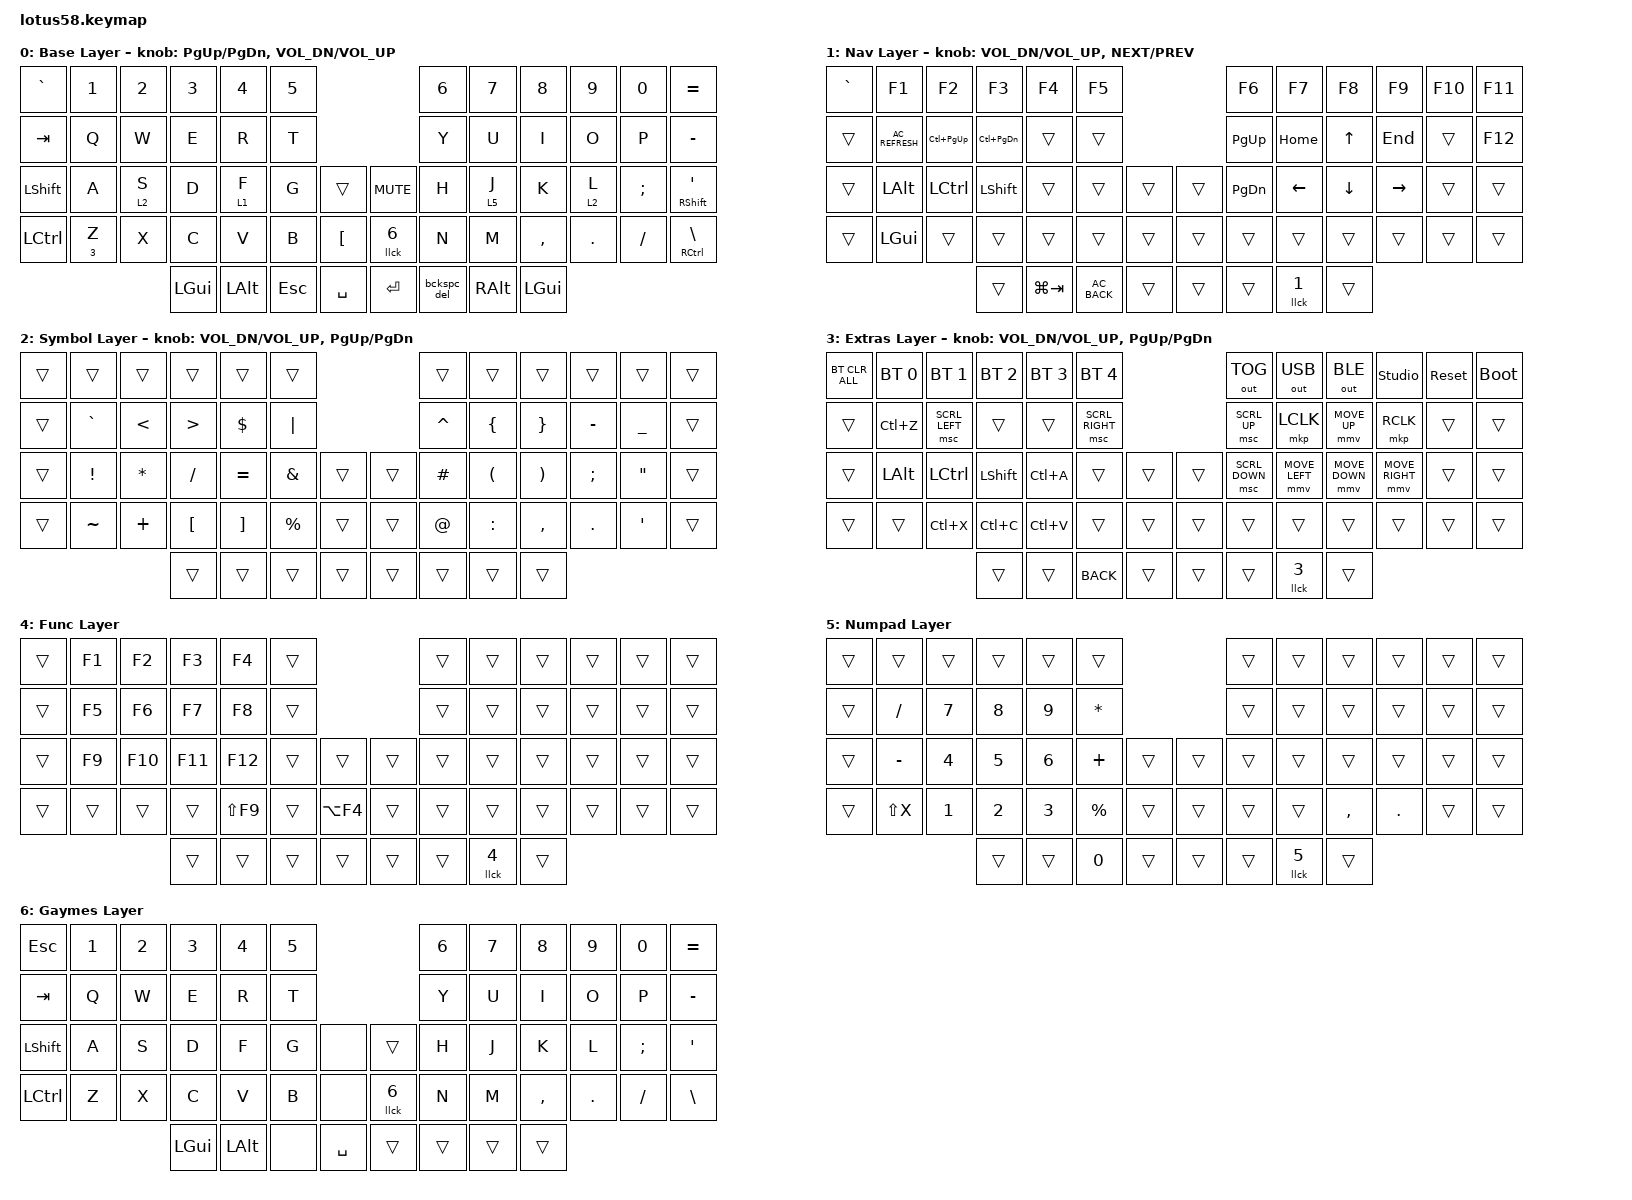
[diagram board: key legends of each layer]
/*
 * Copyright (c) 2022 The ZMK Contributors
 *
 * SPDX-License-Identifier: MIT


 */

#include <behaviors.dtsi>
#include <dt-bindings/zmk/bt.h>
#include <dt-bindings/zmk/keys.h>
#include <dt-bindings/zmk/outputs.h>
#include <dt-bindings/zmk/pointing.h>

/*
// Encoders

&sensors { triggers-per-rotation = <30>; };

&left_encoder { steps = <60>; };

&right_encoder { steps = <60>; };
*/

/ {
    combos {
        compatible = "zmk,combos";

        funcy {
            bindings = <&sl 4>;
            key-positions = <28 29>;
        };
    };

    behaviors {
        bckspc_del: bckspc_del {
            compatible = "zmk,behavior-mod-morph";
            bindings = <&kp BACKSPACE>, <&kp DEL>;

            #binding-cells = <0>;
            mods = <(MOD_LSFT|MOD_RSFT)>;
        };

        hml: homerow_mod_left {
            compatible = "zmk,behavior-hold-tap";
            label = "HML";
            bindings = <&kp>, <&kp>;

            #binding-cells = <2>;
            tapping-term-ms = <280>;
            quick-tap-ms = <175>;
            require-prior-idle-ms = <150>;
            flavor = "balanced";
            hold-trigger-key-positions = <0 1 2 3 4 5 6 7 8 9 10 11 18 19 20 21 22 23 32 33 34 35 36 37 46 47 48 49 50 51 52 53 54 55 56 57 58 59 30 31 32 44 45 46 12 24 38>;
            hold-trigger-on-release;
        };

        hmr: homerow_mod_right {
            compatible = "zmk,behavior-hold-tap";
            label = "HMR";
            bindings = <&kp>, <&kp>;

            #binding-cells = <2>;
            tapping-term-ms = <280>;
            quick-tap-ms = <175>;
            require-prior-idle-ms = <150>;
            flavor = "balanced";
            hold-trigger-on-release;
            hold-trigger-key-positions = <0 1 2 3 4 5 12 13 14 15 16 17 24 25 26 27 28 29 38 39 40 41 42 43 52 53 54 30 31 44 45 55 56 6 7 8 9 10 11 11 23 37 51 57 58 59>;
        };

        hmll: homerow_mod_layer_left {
            compatible = "zmk,behavior-hold-tap";
            label = "HMLL";
            bindings = <&mo>, <&kp>;

            #binding-cells = <2>;
            tapping-term-ms = <280>;
            quick-tap-ms = <175>;
            require-prior-idle-ms = <150>;
            flavor = "balanced";
            hold-trigger-key-positions = <0 1 2 3 4 5 6 7 8 9 10 11 18 19 20 21 22 23 32 33 34 35 36 37 46 47 48 49 50 51 52 53 54 55 56 57 58 59 30 31 32 44 45 46 12 24 38>;
            hold-trigger-on-release;
        };

        hmlr: homerow_mod_layer_right {
            compatible = "zmk,behavior-hold-tap";
            label = "HMLR";
            bindings = <&mo>, <&kp>;

            #binding-cells = <2>;
            tapping-term-ms = <280>;
            quick-tap-ms = <175>;
            require-prior-idle-ms = <150>;
            flavor = "balanced";
            hold-trigger-key-positions = <0 1 2 3 4 5 6 7 8 9 10 11 18 19 20 21 22 23 32 33 34 35 36 37 46 47 48 49 50 51 52 53 54 55 56 57 58 59 30 31 32 44 45 46 12 24 38>;
            hold-trigger-on-release;
        };

        llck: layer_lock {
            compatible = "zmk,behavior-toggle-layer";
            label = "LLCK";
            #binding-cells = <1>;
            toggle-mode = "flip";
            locking;
        };
    };

    keymap {
        compatible = "zmk,keymap";

        base_layer {
            display-name = "Base Layer";

            //   ------------------------------------------------------------------------------------------------------------
            //  0|  ESC  |  1  |  2  |  3   |  4   |  5   |                     |  6   |  7    |  8    |  9   |   0   |   =   | 11
            // 12|  TAB  |  Q  |  W  |  E   |  R   |  T   |                     |  Y   |  U    |  I    |  O   |   P   |   [   | 23
            // 24|  SFT  |  A  |  S  |  D   |  F   |  G   |  RESET  |  | RESET  |  H   |  J    |  K    |  L   |   ;   | ' SFT | 37
            // 38|  CTRL |  Z  |  X  |  C   |  V   |  B   |  MUTE   |  | PLAY   |  N   |  M    |  ,    |  .   |   /   | \ CTRL| 51
            // 52                    |ENT RS|  ALT | SPACE|DELETE LW|  |ENTER RS| BSPC |  ] LW | RGUI  |                        59

            bindings = <
&kp GRAVE  &kp N1            &kp N2            &kp N3    &kp N4        &kp N5                          &kp N6       &kp N7            &kp N8        &kp N9            &kp N0    &kp EQUAL
&kp TAB    &kp Q             &kp W             &kp E     &kp R         &kp T                           &kp Y        &kp U             &kp I         &kp O             &kp P     &kp MINUS
&kp LSHFT  &kp A             &hmll 2 S         &kp D     &hmll 1 F     &kp G    &trans     &kp C_MUTE  &kp H        &hmlr 5 J         &kp K         &hmlr 2 L         &kp SEMI  &hmr RSHFT SQT
&kp LCTRL  &hml 3 Z          &kp X             &kp C     &kp V         &kp B    &kp LBKT   &llck 6     &kp N        &kp M             &kp COMMA     &kp DOT           &kp FSLH  &mt RCTRL BSLH
                                               &kp LGUI  &kp LEFT_ALT  &kp ESC  &kp SPACE  &kp RET     &bckspc_del  &kp RIGHT_ALT     &kp LEFT_GUI
            >;

            sensor-bindings = <&inc_dec_kp PG_UP PG_DN &inc_dec_kp C_VOL_DN C_VOL_UP>;
        };

        nav_layer {
            display-name = "Nav Layer";

            // ------------------------------------------------------------------------------------------------------------
            // | `     |  F1 |  F2 |  F3  |  F4  |  F5  |                   |  F6  |  F7   |  F8   |  F9  |  F10  |  F11  |
            // |       |  !  | HOME|   ^  |  END |  %   |                   | VOL^ |  PGUP |  INS  |  ^   |  PSCR |   -   |
            // |       |  #  |  <- |   v  | ->   |  $   |        |  |       | VOLv |    <- |   ^   |  ->  |   ~   |   _   |
            // |       |  @  |  -  |  (   |  )   |  &   |        |  |       | MUTE |  PGDN |   v   |  :   |   *   |   |   |
            //                     |  F11 |      |      |        |  |       |      |       |  F12  |

            bindings = <
&kp GRAVE  &kp F1            &kp F2           &kp F3             &kp F4       &kp F5                         &kp F6       &kp F7    &kp F8    &kp F9     &kp F10  &kp F11
&trans     &kp C_AC_REFRESH  &kp LC(PAGE_UP)  &kp LC(PAGE_DOWN)  &trans       &trans                         &kp PAGE_UP  &kp HOME  &kp UP    &kp END    &trans   &kp F12
&trans     &kp LEFT_ALT      &kp LCTRL        &kp LEFT_SHIFT     &trans       &trans         &trans  &trans  &kp PG_DN    &kp LEFT  &kp DOWN  &kp RIGHT  &trans   &trans
&trans     &kp LEFT_GUI      &trans           &trans             &trans       &trans         &trans  &trans  &trans       &trans    &trans    &trans     &trans   &trans
                                              &trans             &kp LG(TAB)  &kp C_AC_BACK  &trans  &trans  &trans       &llck 1   &trans
            >;

            sensor-bindings = <&inc_dec_kp C_VOL_DN C_VOL_UP &inc_dec_kp C_NEXT C_PREV>;
        };

        symbol_layer {
            display-name = "Symbol Layer";

            // ------------------------------------------------------------------------------------------------------------
            // |BTCLR| BT1  | BT2  |  BT3  |  BT4  |  BT5 |                |OUTTOG|OUTUSB| OUTBT |      | RESET | FLASH |
            // |     | INS  | PSCR | GUI   | RESET |      |                | PGUP |      |   ^   |      |       |       |
            // |     | ALT  | CTRL | SHIFT | FLASH | CAPS |      |  |      | PGDN |   <- |   v   |  ->  |  DEL  | BSPC  |
            // |     | UNDO | CUT  | COPY  | PASTE |      |      |  |      |      |  |>  |  <|<| | |>|> |       |       |
            //                     |       |       |      |      |  |      |      |      |       |

            bindings = <
&trans  &trans           &trans         &trans            &trans             &trans                         &trans     &trans                &trans                 &trans      &trans             &trans
&trans  &kp GRAVE        &kp LESS_THAN  &kp GREATER_THAN  &kp DOLLAR         &kp PIPE                       &kp CARET  &kp LEFT_BRACE        &kp RIGHT_BRACE        &kp MINUS   &kp UNDERSCORE     &trans
&trans  &kp EXCLAMATION  &kp ASTERISK   &kp SLASH         &kp EQUAL          &kp AMPERSAND  &trans  &trans  &kp POUND  &kp LEFT_PARENTHESIS  &kp RIGHT_PARENTHESIS  &kp SEMI    &kp DOUBLE_QUOTES  &trans
&trans  &kp TILDE        &kp PLUS       &kp LEFT_BRACKET  &kp RIGHT_BRACKET  &kp PERCENT    &trans  &trans  &kp AT     &kp COLON             &kp COMMA              &kp PERIOD  &kp SINGLE_QUOTE   &trans
                                        &trans            &trans             &trans         &trans  &trans  &trans     &trans                &trans
            >;

            sensor-bindings = <&inc_dec_kp C_VOL_DN C_VOL_UP &inc_dec_kp PG_UP PG_DN>;
        };

        extras_layer {
            display-name = "Extras Layer";
            bindings = <
&bt BT_CLR_ALL  &bt BT_SEL 0  &bt BT_SEL 1    &bt BT_SEL 2  &bt BT_SEL 3  &bt BT_SEL 4                     &out OUT_TOG    &out OUT_USB    &out OUT_BLE    &studio_unlock   &sys_reset  &bootloader
&trans          &kp LC(Z)     &msc SCRL_LEFT  &trans        &trans        &msc SCRL_RIGHT                  &msc SCRL_UP    &mkp LCLK       &mmv MOVE_UP    &mkp RCLK        &trans      &trans
&trans          &kp LALT      &kp LCTRL       &kp LSHFT     &kp LC(A)     &trans           &trans  &trans  &msc SCRL_DOWN  &mmv MOVE_LEFT  &mmv MOVE_DOWN  &mmv MOVE_RIGHT  &trans      &trans
&trans          &trans        &kp LC(X)       &kp LC(C)     &kp LC(V)     &trans           &trans  &trans  &trans          &trans          &trans          &trans           &trans      &trans
                                              &trans        &trans        &kp K_BACK       &trans  &trans  &trans          &llck 3         &trans
            >;

            sensor-bindings =
                <&inc_dec_kp C_VOL_DN C_VOL_UP>,
                <&inc_dec_kp PG_UP PG_DN>;
        };

        func_layer {
            bindings = <
&trans  &kp F1  &kp F2   &kp F3   &kp F4      &trans                      &trans  &trans   &trans  &trans  &trans  &trans
&trans  &kp F5  &kp F6   &kp F7   &kp F8      &trans                      &trans  &trans   &trans  &trans  &trans  &trans
&trans  &kp F9  &kp F10  &kp F11  &kp F12     &trans  &trans      &trans  &trans  &trans   &trans  &trans  &trans  &trans
&trans  &trans  &trans   &trans   &kp LS(F9)  &trans  &kp LA(F4)  &trans  &trans  &trans   &trans  &trans  &trans  &trans
                         &trans   &trans      &trans  &trans      &trans  &trans  &llck 4  &trans
            >;

            label = "Func Layer";
        };

        numpad_layer {
            bindings = <
&trans  &trans     &trans        &trans        &trans        &trans                       &trans  &trans   &trans     &trans      &trans  &trans
&trans  &kp SLASH  &kp N7        &kp NUMBER_8  &kp NUMBER_9  &kp ASTRK                    &trans  &trans   &trans     &trans      &trans  &trans
&trans  &kp MINUS  &kp NUMBER_4  &kp NUMBER_5  &kp NUMBER_6  &kp PLUS     &trans  &trans  &trans  &trans   &trans     &trans      &trans  &trans
&trans  &kp LS(X)  &kp NUMBER_1  &kp NUMBER_2  &kp NUMBER_3  &kp PERCENT  &trans  &trans  &trans  &trans   &kp COMMA  &kp PERIOD  &trans  &trans
                                 &trans        &trans        &kp N0       &trans  &trans  &trans  &llck 5  &trans
            >;

            label = "Numpad Layer";
        };

        games_layer {
            bindings = <
&kp ESC    &kp N1  &kp N2  &kp N3        &kp N4        &kp N5                      &kp N6  &kp N7  &kp N8     &kp N9   &kp N0    &kp EQUAL
&kp TAB    &kp Q   &kp W   &kp E         &kp R         &kp T                       &kp Y   &kp U   &kp I      &kp O    &kp P     &kp MINUS
&kp LSHFT  &kp A   &kp S   &kp D         &kp F         &kp G   &none      &trans   &kp H   &kp J   &kp K      &kp L    &kp SEMI  &kp APOS
&kp LCTRL  &kp Z   &kp X   &kp C         &kp V         &kp B   &none      &llck 6  &kp N   &kp M   &kp COMMA  &kp DOT  &kp FSLH  &kp BSLH
                           &kp LEFT_GUI  &kp LEFT_ALT  &none   &kp SPACE  &trans   &trans  &trans  &trans
            >;

            label = "Gaymes Layer";
        };
    };

    extra_layer {
        display-name = "Extra Layer";

        // ------------------------------------------------------------------------------------------------------------
        // |BTCLR| BT1  | BT2  |  BT3  |  BT4  |  BT5 |                |OUTTOG|OUTUSB| OUTBT |      | RESET | FLASH |
        // |     | INS  | PSCR | GUI   | RESET |      |                | PGUP |      |   ^   |      |       |       |
        // |     | ALT  | CTRL | SHIFT | FLASH | CAPS |      |  |      | PGDN |   <- |   v   |  ->  |  DEL  | BSPC  |
        // |     | UNDO | CUT  | COPY  | PASTE |      |      |  |      |      |  |>  |  <|<| | |>|> |       |       |
        //                     |       |       |      |      |  |      |      |      |       |

        bindings = <
&trans &trans &trans &trans &trans &trans                    &trans  &trans  &trans  &trans     &trans  &trans
&trans &trans &trans &trans &trans &trans                    &trans  &trans  &trans  &trans     &trans  &trans
&trans     &trans     &trans    &trans    &trans  &trans     &trans   &trans    &trans     &trans      &trans      &trans  &trans &trans
&trans     &trans   &trans    &trans   &trans  &trans       &trans   &trans    &trans        &trans      &trans    &trans &trans  &trans
                                     &trans       &trans       &trans       &trans   &trans    &trans        &trans        &trans
        >;

        sensor-bindings = <&inc_dec_kp C_VOL_DN C_VOL_UP &inc_dec_kp PG_UP PG_DN>;
    };
};
